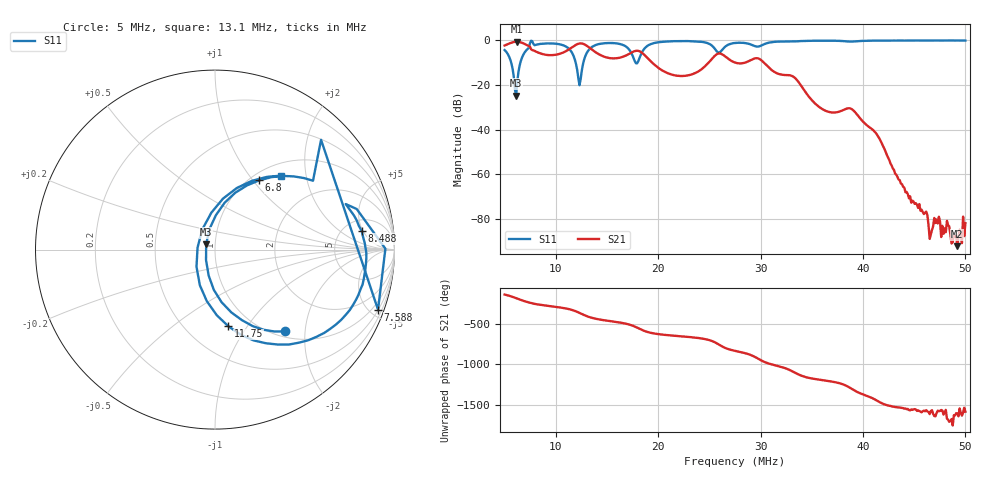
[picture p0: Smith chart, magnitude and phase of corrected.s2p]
! S11/S21 only; reverse parameters are placeholders. Device calibration unverified.
! [Saver CAL applied] C:\Users\aknya\MyProjects\rf-simulator\calibration2.cal | Ideal standards assumed | Input: NanoVNA F V2 profile | COM3 | 2026-09-08T12:06:07.0468074-04:00 | device calibration unverified
# HZ S RI R 50
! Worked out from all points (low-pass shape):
!   401 points, 5 MHz to 50 MHz, reference 50 ohm
!   highest |S21| = -0.69 dB at 6.237 MHz (marker M1); lowest = -92.2 dB at 49.21 MHz (marker M2)
!   |S21| within 3 dB of the highest: start of sweep to 7.547 MHz; 11.43 MHz to 13.37 MHz (1.937 MHz wide, 15.6 % of centre)
!   lowest |S11| = -24.8 dB at 6.125 MHz (marker M3), VSWR 1.12, Z = 45.2 + j2.71 ohm
!   |S11| at or under -10 dB: 5.637 MHz to 6.545 MHz (907.9 kHz wide, 14.9 % of centre); 11.93 MHz to 12.69 MHz (760.3 kHz wide, 6.17 % of centre); 17.79 MHz to 17.98 MHz (198.7 kHz wide, 1.11 % of centre)
!   S12 and S22 are empty: the file has one direction only
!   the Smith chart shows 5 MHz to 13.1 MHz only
!   S11 on the Smith chart (normalised r, x): 5 MHz: 1.10, -1.57; 6.8 MHz: 1.10, +1.08; 7.588 MHz: 0.52, -5.55; 8.488 MHz: 7.25, +4.71; 11.75 MHz: 0.78, -0.82; 13.1 MHz: 1.22, +1.45
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5000000  0.3894 -0.4561  -0.531 -0.5415  0 0  0 0
6125000  -0.0492 0.0298  -0.9226 -0.00674  0 0  0 0
6237500  -0.0311 0.1137  -0.9201 0.0808  0 0  0 0
6800000  0.2462 0.3857  -0.7328 0.4406  0 0  0 0
7587500  0.9084 -0.3351  -0.3194 0.533  0 0  0 0
8487500  0.8172 0.1043  -0.0718 0.5004  0 0  0 0
1.175e7  0.0748 -0.4273  0.6481 0.3397  0 0  0 0
1.25375e7  -0.0203 0.2058  0.8114 -0.2228  0 0  0 0
1.31e7  0.3691 0.4121  0.5061 -0.5233  0 0  0 0
1.5575e7  0.8092 -0.2888  -0.1247 -0.3703  0 0  0 0
1.7825e7  -0.2993 -0.057  -0.575 -0.022  0 0  0 0
1.86125e7  0.246 0.5778  -0.343 0.3314  0 0  0 0
2.0075e7  0.8699 0.2356  -0.0152 0.2336  0 0  0 0
2.57e7  0.4555 -0.3396  0.4563 -0.1491  0 0  0 0
2.75e7  0.8024 -0.3189  -0.1207 -0.2912  0 0  0 0
3.02e7  0.7177 -0.312  -0.1662 0.2894  0 0  0 0
3.50375e7  0.7044 -0.669  -0.00466 -0.0443  0 0  0 0
3.8975e7  0.5407 -0.7542  -0.0178 0.0215  0 0  0 0
4.2575e7  0.4421 -0.8712  0.00054 -0.00198  0 0  0 0
4.65125e7  0.2891 -0.9344  -3.57e-05 -1.78e-06  0 0  0 0
4.92125e7  0.1867 -0.9607  -2.41e-05 -4.74e-06  0 0  0 0
5e7  0.1591 -0.9667  -6.77e-05 -4.33e-05  0 0  0 0
